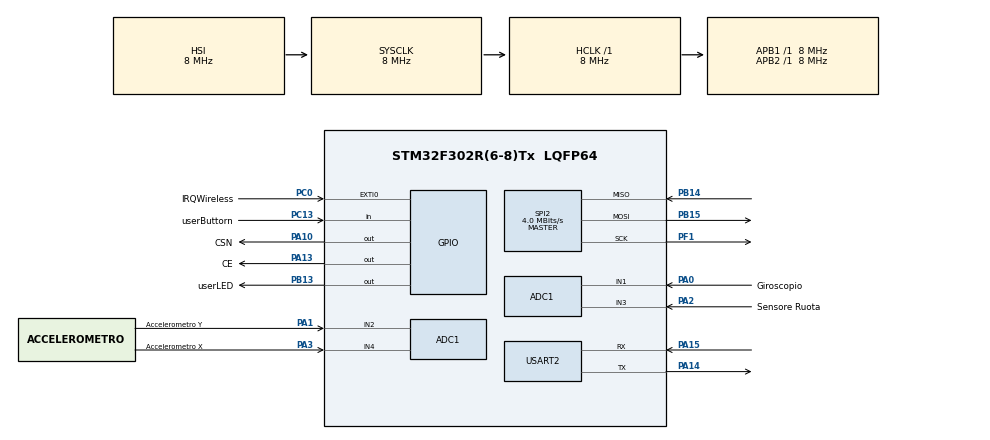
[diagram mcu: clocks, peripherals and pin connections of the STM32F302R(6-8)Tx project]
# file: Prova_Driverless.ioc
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ADC1.Channel-0\#ChannelRegularConversion=ADC_CHANNEL_3
ADC1.NbrOfConversionFlag=1
ADC1.Offset-0\#ChannelRegularConversion=0
ADC1.OffsetNumber-0\#ChannelRegularConversion=ADC_OFFSET_NONE
ADC1.Rank-0\#ChannelRegularConversion=1
ADC1.SamplingTime-0\#ChannelRegularConversion=ADC_SAMPLETIME_1CYCLE_5
ADC1.SubFamily=STM32F302x8
ADC1.master=1
Mcu.Family=STM32F3
Mcu.Name=STM32F302R(6-8)Tx
Mcu.Package=LQFP64
NVIC.EXTI0_IRQn=true\:0\:0\:false\:false\:true\:true\:true
NVIC.PriorityGroup=NVIC_PRIORITYGROUP_4
NVIC.SPI2_IRQn=true\:0\:0\:false\:false\:true\:true\:true
NVIC.TIM1_UP_TIM16_IRQn=true\:1\:0\:true\:true\:true\:1\:true\:true
NVIC.USART2_IRQn=true\:2\:0\:true\:false\:true\:true\:true
PA0.GPIO_Label=Giroscopio
PA0.Mode=IN1-Single-Ended
PA0.Signal=ADC1_IN1
PA1.GPIO_Label=Accelerometro Y
PA1.Mode=IN2-Single-Ended
PA1.Signal=ADC1_IN2
PA10.GPIO_Label=CSN
PA10.Signal=GPIO_Output
PA13.GPIO_Label=CE
PA13.Signal=GPIO_Output
PA14.Mode=Asynchronous
PA14.Signal=USART2_TX
PA15.Mode=Asynchronous
PA15.Signal=USART2_RX
PA2.GPIO_Label=Sensore Ruota
PA2.Mode=IN3-Single-Ended
PA2.Signal=ADC1_IN3
PA3.GPIO_Label=Accelerometro X
PA3.Mode=IN4-Single-Ended
PA3.Signal=ADC1_IN4
PB13.GPIO_Label=userLED
PB13.PinState=GPIO_PIN_SET
PB13.Signal=GPIO_Output
PB14.Mode=Full_Duplex_Master
PB14.Signal=SPI2_MISO
PB15.Mode=Full_Duplex_Master
PB15.Signal=SPI2_MOSI
PC0.GPIO_Label=IRQWireless
PC0.Signal=GPXTI0
PC13.GPIO_Label=userButtorn
PC13.GPIO_PuPd=GPIO_PULLDOWN
PC13.Signal=GPIO_Input
PF1-OSC_OUT.Mode=Full_Duplex_Master
PF1-OSC_OUT.Signal=SPI2_SCK
ProjectManager.HeapSize=0x200
ProjectManager.StackSize=0x400
ProjectManager.TargetToolchain=TrueSTUDIO
RCC.AHBFreq_Value=8000000
RCC.APB1Freq_Value=8000000
RCC.APB2Freq_Value=8000000
RCC.APB2TimCLKDivider=1
RCC.APB2TimFreq_Value=8000000
RCC.CortexFreq_Value=8000000
RCC.HSE_VALUE=8000000
RCC.HSI_VALUE=8000000
RCC.LSE_VALUE=32768
RCC.PLLMUL=RCC_PLL_MUL4
RCC.SYSCLKFreq_VALUE=8000000
RCC.USBFreq_Value=16000000
SPI2.CalculateBaudRate=4.0 MBits/s
SPI2.Direction=SPI_DIRECTION_2LINES
SPI2.Mode=SPI_MODE_MASTER
SPI2.VirtualType=VM_MASTER
TIM1.Period=999
TIM1.Prescaler=8000
TIM1.TIM_MasterOutputTrigger=TIM_TRGO_RESET
USART2.VirtualMode-Asynchronous=VM_ASYNC
VP_TIM1_VS_ClockSourceINT.Mode=Internal
board=custom

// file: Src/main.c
/* USER CODE BEGIN Header */
/**
  ******************************************************************************
  * @file           : main.c
  * @brief          : Main program body
  ******************************************************************************
  * @attention
  *
  * <h2><center>&copy; Copyright (c) 2019 STMicroelectronics.
  * All rights reserved.</center></h2>
  *
  * This software component is licensed by ST under BSD 3-Clause license,
  * the "License"; You may not use this file except in compliance with the
  * License. You may obtain a copy of the License at:
  *                        opensource.org/licenses/BSD-3-Clause
  *
  ******************************************************************************
  */
/* USER CODE END Header */

#include "main.h"

ADC_HandleTypeDef hadc1;

SPI_HandleTypeDef hspi2;

TIM_HandleTypeDef htim1;

UART_HandleTypeDef huart2;

/* USER CODE BEGIN PV */
	uint8_t oldButtonStatus = 0;
	uint8_t buttonState = 0;
	volatile uint32_t TimerSecondi = 0;
	volatile uint32_t millisecondi = 0;
/* USER CODE END PV */

void SystemClock_Config(void);
static void MX_GPIO_Init(void);
static void MX_ADC1_Init(void);
static void MX_TIM1_Init(void);
static void MX_USART2_UART_Init(void);
static void MX_SPI2_Init(void);
static void MX_NVIC_Init(void);

/* USER CODE BEGIN 0 */

void TIM2_IRQHandler(void)
{
	if( (++millisecondi / 1000) - TimerSecondi == 1) TimerSecondi++;
}
uint32_t millis(void) { return millisecondi; }
uint32_t secondi(void) { return TimerSecondi; }

/* USER CODE END 0 */

int main(void)
{

  /* MCU Configuration--------------------------------------------------------*/

  /* Reset of all peripherals, Initializes the Flash interface and the Systick. */
  HAL_Init();

  /* Configure the system clock */
  SystemClock_Config();

  /* Initialize all configured peripherals */
  MX_GPIO_Init();
  MX_ADC1_Init();
  MX_TIM1_Init();
  MX_USART2_UART_Init();
  MX_SPI2_Init();

  /* Initialize interrupts */
  MX_NVIC_Init();

  /* Infinite loop */
  /* USER CODE BEGIN WHILE */
  while (1)
  {
	  buttonState = HAL_GPIO_ReadPin(userButtorn_GPIO_Port, userButtorn_Pin);
	      	  if(buttonState != oldButtonStatus) { // Bottone Premuto, oppure rilasciato
	      		  if(!oldButtonStatus) { // User Button Pressed
	      			  HAL_GPIO_TogglePin(userLED_GPIO_Port, userLED_Pin);
	      			  oldButtonStatus = 1;
	      			  uint8_t msg[] = "Bottone Premuto;";
	      			  HAL_UART_Transmit(&huart2, (uint8_t*)msg, 20, 1000);
	      			  while (HAL_GPIO_ReadPin(userButtorn_GPIO_Port, userButtorn_Pin)) {} // WAIT UNTIL UNPRESSED
	      			  oldButtonStatus = 0;

	      		  }
	      	  }

	      	  /* Read ADC */

	      	  /* SEND UART */
	      	  if(0) {
	      		  uint8_t msg[] = "24";
	      		  HAL_UART_Transmit(&huart2, (uint8_t*)msg, 20, 1000);
	      	  }

  }
  /* USER CODE END WHILE */
}

void SystemClock_Config(void)
{
  RCC_OscInitTypeDef RCC_OscInitStruct = {0};
  RCC_ClkInitTypeDef RCC_ClkInitStruct = {0};
  RCC_PeriphCLKInitTypeDef PeriphClkInit = {0};

  /** Initializes the CPU, AHB and APB busses clocks
  */
  RCC_OscInitStruct.OscillatorType = RCC_OSCILLATORTYPE_HSI;
  RCC_OscInitStruct.HSIState = RCC_HSI_ON;
  RCC_OscInitStruct.HSICalibrationValue = RCC_HSICALIBRATION_DEFAULT;
  RCC_OscInitStruct.PLL.PLLState = RCC_PLL_ON;
  RCC_OscInitStruct.PLL.PLLSource = RCC_PLLSOURCE_HSI;
  RCC_OscInitStruct.PLL.PLLMUL = RCC_PLL_MUL4;
  if (HAL_RCC_OscConfig(&RCC_OscInitStruct) != HAL_OK)
  {
    Error_Handler();
  }
  /** Initializes the CPU, AHB and APB busses clocks
  */
  RCC_ClkInitStruct.ClockType = RCC_CLOCKTYPE_HCLK|RCC_CLOCKTYPE_SYSCLK
                              |RCC_CLOCKTYPE_PCLK1|RCC_CLOCKTYPE_PCLK2;
  RCC_ClkInitStruct.SYSCLKSource = RCC_SYSCLKSOURCE_HSI;
  RCC_ClkInitStruct.AHBCLKDivider = RCC_SYSCLK_DIV1;
  RCC_ClkInitStruct.APB1CLKDivider = RCC_HCLK_DIV1;
  RCC_ClkInitStruct.APB2CLKDivider = RCC_HCLK_DIV1;

  if (HAL_RCC_ClockConfig(&RCC_ClkInitStruct, FLASH_LATENCY_0) != HAL_OK)
  {
    Error_Handler();
  }
  PeriphClkInit.PeriphClockSelection = RCC_PERIPHCLK_TIM1|RCC_PERIPHCLK_ADC1;
  PeriphClkInit.Tim1ClockSelection = RCC_TIM1CLK_HCLK;
  PeriphClkInit.Adc1ClockSelection = RCC_ADC1PLLCLK_DIV1;

  if (HAL_RCCEx_PeriphCLKConfig(&PeriphClkInit) != HAL_OK)
  {
    Error_Handler();
  }
}

/**
  * @brief NVIC Configuration.
  * @retval None
  */
static void MX_NVIC_Init(void)
{
  /* TIM1_UP_TIM16_IRQn interrupt configuration */
  HAL_NVIC_SetPriority(TIM1_UP_TIM16_IRQn, 1, 0);
  HAL_NVIC_EnableIRQ(TIM1_UP_TIM16_IRQn);
}

static void MX_ADC1_Init(void)
{

  ADC_ChannelConfTypeDef sConfig = {0};

  /** Common config
  */
  hadc1.Instance = ADC1;
  hadc1.Init.ClockPrescaler = ADC_CLOCK_ASYNC_DIV1;
  hadc1.Init.Resolution = ADC_RESOLUTION_12B;
  hadc1.Init.ScanConvMode = ADC_SCAN_DISABLE;
  hadc1.Init.ContinuousConvMode = DISABLE;
  hadc1.Init.DiscontinuousConvMode = DISABLE;
  hadc1.Init.ExternalTrigConvEdge = ADC_EXTERNALTRIGCONVEDGE_NONE;
  hadc1.Init.ExternalTrigConv = ADC_SOFTWARE_START;
  hadc1.Init.DataAlign = ADC_DATAALIGN_RIGHT;
  hadc1.Init.NbrOfConversion = 1;
  hadc1.Init.DMAContinuousRequests = DISABLE;
  hadc1.Init.EOCSelection = ADC_EOC_SINGLE_CONV;
  hadc1.Init.LowPowerAutoWait = DISABLE;
  hadc1.Init.Overrun = ADC_OVR_DATA_OVERWRITTEN;
  if (HAL_ADC_Init(&hadc1) != HAL_OK)
  {
    Error_Handler();
  }
  /** Configure Regular Channel
  */
  sConfig.Channel = ADC_CHANNEL_3;
  sConfig.Rank = ADC_REGULAR_RANK_1;
  sConfig.SingleDiff = ADC_SINGLE_ENDED;
  sConfig.SamplingTime = ADC_SAMPLETIME_1CYCLE_5;
  sConfig.OffsetNumber = ADC_OFFSET_NONE;
  sConfig.Offset = 0;
  if (HAL_ADC_ConfigChannel(&hadc1, &sConfig) != HAL_OK)
  {
    Error_Handler();
  }

}

static void MX_SPI2_Init(void)
{

  /* SPI2 parameter configuration*/
  hspi2.Instance = SPI2;
  hspi2.Init.Mode = SPI_MODE_MASTER;
  hspi2.Init.Direction = SPI_DIRECTION_2LINES;
  hspi2.Init.DataSize = SPI_DATASIZE_4BIT;
  hspi2.Init.CLKPolarity = SPI_POLARITY_LOW;
  hspi2.Init.CLKPhase = SPI_PHASE_1EDGE;
  hspi2.Init.NSS = SPI_NSS_SOFT;
  hspi2.Init.BaudRatePrescaler = SPI_BAUDRATEPRESCALER_2;
  hspi2.Init.FirstBit = SPI_FIRSTBIT_MSB;
  hspi2.Init.TIMode = SPI_TIMODE_DISABLE;
  hspi2.Init.CRCCalculation = SPI_CRCCALCULATION_DISABLE;
  hspi2.Init.CRCPolynomial = 7;
  hspi2.Init.CRCLength = SPI_CRC_LENGTH_DATASIZE;
  hspi2.Init.NSSPMode = SPI_NSS_PULSE_ENABLE;
  if (HAL_SPI_Init(&hspi2) != HAL_OK)
  {
    Error_Handler();
  }

}

static void MX_TIM1_Init(void)
{

  TIM_ClockConfigTypeDef sClockSourceConfig = {0};
  TIM_MasterConfigTypeDef sMasterConfig = {0};

  htim1.Instance = TIM1;
  htim1.Init.Prescaler = 8000;
  htim1.Init.CounterMode = TIM_COUNTERMODE_UP;
  htim1.Init.Period = 999;
  htim1.Init.ClockDivision = TIM_CLOCKDIVISION_DIV1;
  htim1.Init.RepetitionCounter = 0;
  htim1.Init.AutoReloadPreload = TIM_AUTORELOAD_PRELOAD_DISABLE;
  if (HAL_TIM_Base_Init(&htim1) != HAL_OK)
  {
    Error_Handler();
  }
  sClockSourceConfig.ClockSource = TIM_CLOCKSOURCE_INTERNAL;
  if (HAL_TIM_ConfigClockSource(&htim1, &sClockSourceConfig) != HAL_OK)
  {
    Error_Handler();
  }
  sMasterConfig.MasterOutputTrigger = TIM_TRGO_RESET;
  sMasterConfig.MasterOutputTrigger2 = TIM_TRGO2_RESET;
  sMasterConfig.MasterSlaveMode = TIM_MASTERSLAVEMODE_DISABLE;
  if (HAL_TIMEx_MasterConfigSynchronization(&htim1, &sMasterConfig) != HAL_OK)
  {
    Error_Handler();
  }
  /* USER CODE BEGIN TIM1_Init 2 */
  HAL_TIM_Base_Start_IT(&htim1);
  /* USER CODE END TIM1_Init 2 */

}

static void MX_USART2_UART_Init(void)
{

  huart2.Instance = USART2;
  huart2.Init.BaudRate = 38400;
  huart2.Init.WordLength = UART_WORDLENGTH_8B;
  huart2.Init.StopBits = UART_STOPBITS_1;
  huart2.Init.Parity = UART_PARITY_NONE;
  huart2.Init.Mode = UART_MODE_TX_RX;
  huart2.Init.HwFlowCtl = UART_HWCONTROL_NONE;
  huart2.Init.OverSampling = UART_OVERSAMPLING_16;
  huart2.Init.OneBitSampling = UART_ONE_BIT_SAMPLE_DISABLE;
  huart2.AdvancedInit.AdvFeatureInit = UART_ADVFEATURE_NO_INIT;
  if (HAL_UART_Init(&huart2) != HAL_OK)
  {
    Error_Handler();
  }

}

static void MX_GPIO_Init(void)
{
  GPIO_InitTypeDef GPIO_InitStruct = {0};

  /* GPIO Ports Clock Enable */
  __HAL_RCC_GPIOC_CLK_ENABLE();
  __HAL_RCC_GPIOF_CLK_ENABLE();
  __HAL_RCC_GPIOA_CLK_ENABLE();
  __HAL_RCC_GPIOB_CLK_ENABLE();

  /*Configure GPIO pin Output Level */
  HAL_GPIO_WritePin(userLED_GPIO_Port, userLED_Pin, GPIO_PIN_SET);

  /*Configure GPIO pin Output Level */
  HAL_GPIO_WritePin(GPIOA, CSN_Pin|CE_Pin, GPIO_PIN_RESET);

  /*Configure GPIO pin : userButtorn_Pin */
  GPIO_InitStruct.Pin = userButtorn_Pin;
  GPIO_InitStruct.Mode = GPIO_MODE_INPUT;
  GPIO_InitStruct.Pull = GPIO_PULLDOWN;
  HAL_GPIO_Init(userButtorn_GPIO_Port, &GPIO_InitStruct);

  /*Configure GPIO pin : IRQWireless_Pin */
  GPIO_InitStruct.Pin = IRQWireless_Pin;
  GPIO_InitStruct.Mode = GPIO_MODE_IT_RISING;
  GPIO_InitStruct.Pull = GPIO_NOPULL;
  HAL_GPIO_Init(IRQWireless_GPIO_Port, &GPIO_InitStruct);

  /*Configure GPIO pin : userLED_Pin */
  GPIO_InitStruct.Pin = userLED_Pin;
  GPIO_InitStruct.Mode = GPIO_MODE_OUTPUT_PP;
  GPIO_InitStruct.Pull = GPIO_NOPULL;
  GPIO_InitStruct.Speed = GPIO_SPEED_FREQ_LOW;
  HAL_GPIO_Init(userLED_GPIO_Port, &GPIO_InitStruct);

  /*Configure GPIO pins : CSN_Pin CE_Pin */
  GPIO_InitStruct.Pin = CSN_Pin|CE_Pin;
  GPIO_InitStruct.Mode = GPIO_MODE_OUTPUT_PP;
  GPIO_InitStruct.Pull = GPIO_NOPULL;
  GPIO_InitStruct.Speed = GPIO_SPEED_FREQ_LOW;
  HAL_GPIO_Init(GPIOA, &GPIO_InitStruct);

  /* EXTI interrupt init*/
  HAL_NVIC_SetPriority(EXTI0_IRQn, 0, 0);
  HAL_NVIC_EnableIRQ(EXTI0_IRQn);

}

void Error_Handler(void)
{
}

/************************ (C) COPYRIGHT STMicroelectronics *****END OF FILE****/
